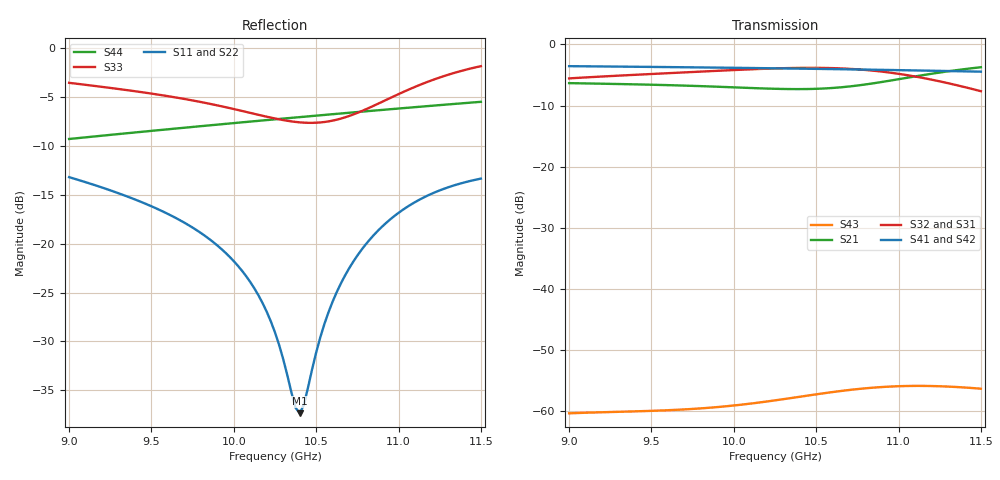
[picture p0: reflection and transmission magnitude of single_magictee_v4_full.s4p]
! Generated from PyAEDT SolutionData; AEDT ExportNetworkData workaround
# GHz S MA R 50
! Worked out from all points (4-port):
!   101 points, 9 GHz to 11.5 GHz, reference 50 ohm
!   strongest paths, dB at 9 GHz, 9.625 GHz, 10.25 GHz, 10.88 GHz, 11.5 GHz:
!     S41: -3.6, -3.7, -3.9, -4.1, -4.5
!     S42: -3.6, -3.7, -3.9, -4.2, -4.5
!     S32: -5.6, -4.7, -3.9, -4.4, -7.6
!     S31: -5.6, -4.7, -3.9, -4.4, -7.7
!     S21: -6.3, -6.7, -7.3, -6.2, -3.7
!     S43: -60.3, -59.8, -58.2, -56.1, -56.3
!   lowest |S11| = -37.4 dB at 10.4 GHz (marker M1), VSWR 1.03, Z = 49.2 - j1.07 ohm
!   |S11| at or under -10 dB: start of sweep to end of sweep
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9  0.2191 136.8  0.4827 176.4  0.527 -93.6  0.6643 44.1
   0.4827 176.4  0.2188 136.7  0.5278 -93.6  0.6638 -135.9
   0.527 -93.6  0.5278 -93.6  0.6661 -171.5  0.000961 -55.7
   0.6643 44.1  0.6638 -135.9  0.000961 -55.7  0.3436 -112.2
9.35  0.1748 94.7  0.4731 138.4  0.5591 -156.0  0.658 4.0
      0.4731 138.4  0.1747 94.6  0.5601 -155.9  0.6572 -176.0
      0.5591 -156.0  0.5601 -155.9  0.6113 101.1  0.0009928 -118.6
      0.658 4.0  0.6572 -176.0  0.0009928 -118.6  0.3676 -149.6
9.725  0.1245 48.2  0.4596 99.6  0.5918 137.8  0.6504 -37.6
       0.4596 99.6  0.1243 48.2  0.5931 137.8  0.6493 142.5
       0.5918 137.8  0.5931 137.8  0.5459 6.3  0.001039 177.6
       0.6504 -37.6  0.6493 142.5  0.001039 177.6  0.3942 171.0
10.075  0.06816 -1.0  0.4419 65.9  0.6224 75.3  0.6424 -75.4
        0.4419 65.9  0.06782 -1.0  0.6238 75.4  0.6411 104.6
        0.6224 75.3  0.6238 75.4  0.4727 -87.6  0.001143 119.7
        0.6424 -75.4  0.6411 104.6  0.001143 119.7  0.4199 134.7
10.4  0.01354 -126.5  0.4313 38.4  0.6416 15.5  0.6342 -109.9
      0.4313 38.4  0.01376 -129.8  0.6431 15.6  0.6326 70.2
      0.6416 15.5  0.6431 15.6  0.4181 173.1  0.001312 63.6
      0.6342 -109.9  0.6326 70.2  0.001312 63.6  0.4446 101.4
10.975  0.1386 65.5  0.5129 -7.0  0.5802 -95.0  0.6173 -170.0
        0.5129 -7.0  0.1401 66.0  0.5817 -94.9  0.6156 10.2
        0.5802 -95.0  0.5817 -94.9  0.5701 -16.5  0.001596 -47.3
        0.6173 -170.0  0.6156 10.2  0.001596 -47.3  0.49 43.0
11.5  0.2153 -12.5  0.651 -60.4  0.4136 167.9  0.599 135.8
      0.651 -60.4  0.2158 -11.8  0.4146 168.0  0.5981 -43.9
      0.4136 167.9  0.4146 168.0  0.8106 -155.1  0.001528 -154.2
      0.599 135.8  0.5981 -43.9  0.001528 -154.2  0.5324 -10.0
